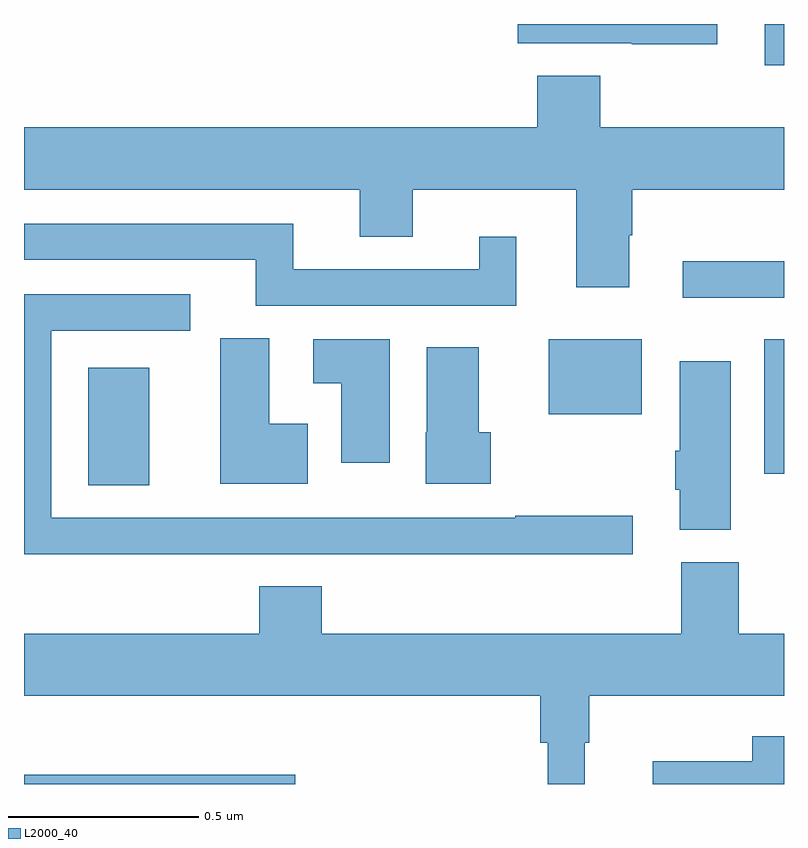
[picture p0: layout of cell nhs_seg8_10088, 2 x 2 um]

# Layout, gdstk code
import gdstk
lib = gdstk.Library(unit=1e-6, precision=1e-09)
def R(c, l, rs):  # rectangles x0, y0, x1, y1
    for r in rs: c.add(gdstk.rectangle(r[:2], r[2:], *l))
def P(c, l, *ps):  # polygons
    for p in ps: c.add(gdstk.Polygon(p, *l))
L2000_40 = (2000, 40)

nhs_seg8_10088 = lib.new_cell('nhs_seg8_10088')
R(nhs_seg8_10088, L2000_40, [(244,1150.9,244.714,1150.925), (244.169,1151.686,244.33,1151.995), (245.948,1151.717,246,1152.07), (245.381,1151.873,245.626,1152.07), (245.733,1152.18,246,1152.276), (245.949,1152.792,246,1152.9)])
P(nhs_seg8_10088, L2000_40, [(245.824,1152.9),(245.299,1152.9),(245.299,1152.849),(245.599,1152.849),(245.599,1152.847),(245.824,1152.847)],
  [(245.593,1152.344),(245.601,1152.344),(245.601,1152.464),(246,1152.464),(246,1152.628),(245.516,1152.628),(245.516,1152.764),(245.351,1152.764),(245.351,1152.628),(244,1152.628),(244,1152.464),(244.883,1152.464),(244.883,1152.34),(245.023,1152.34),(245.023,1152.464),(245.453,1152.464),(245.453,1152.207),(245.593,1152.207)],
  [(245.296,1152.34),(245.198,1152.34),(245.198,1152.255),(244.708,1152.255),(244.708,1152.375),(244,1152.375),(244,1152.279),(244.61,1152.279),(244.61,1152.159),(245.296,1152.159)],
  [(244.535,1151.505),(244.867,1151.505),(244.867,1151.504),(245.602,1151.504),(245.602,1151.606),(245.293,1151.606),(245.293,1151.601),(244.072,1151.601),(244.072,1152.093),(244.438,1152.093),(244.438,1152.189),(244,1152.189),(244,1151.504),(244.535,1151.504)],
  [(244.747,1151.848),(244.645,1151.848),(244.645,1152.073),(244.517,1152.073),(244.517,1151.69),(244.747,1151.69)],
  [(244.963,1152.07),(244.761,1152.07),(244.761,1151.954),(244.835,1151.954),(244.835,1151.745),(244.963,1151.745)],
  [(245.228,1151.826),(245.197,1151.826),(245.197,1152.049),(245.06,1152.049),(245.06,1151.826),(245.057,1151.826),(245.057,1151.69),(245.228,1151.69)],
  [(245.86,1152.013),(245.726,1152.013),(245.726,1151.777),(245.714,1151.777),(245.714,1151.674),(245.726,1151.674),(245.726,1151.569),(245.86,1151.569)],
  [(245.476,1151.009),(245.488,1151.009),(245.488,1151.132),(246,1151.132),(246,1151.296),(245.881,1151.296),(245.881,1151.484),(245.729,1151.484),(245.729,1151.296),(244.784,1151.296),(244.784,1151.42),(244.619,1151.42),(244.619,1151.296),(244,1151.296),(244,1151.132),(245.359,1151.132),(245.359,1151.009),(245.378,1151.009),(245.378,1150.9),(245.476,1150.9)],
  [(246,1151.026),(245.916,1151.026),(245.916,1150.96),(245.654,1150.96),(245.654,1150.9),(246,1150.9)])

lib.write_gds('nhs_seg8_10088.gds')
